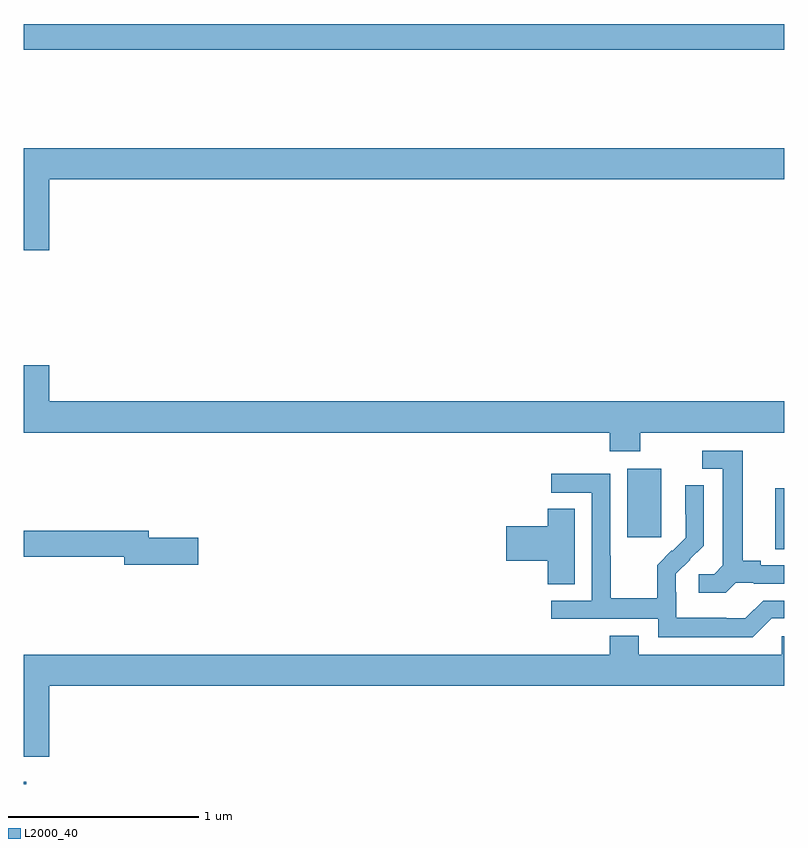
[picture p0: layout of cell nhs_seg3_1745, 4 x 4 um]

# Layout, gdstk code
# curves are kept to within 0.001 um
import gdstk
lib = gdstk.Library(unit=1e-6, precision=1e-09)
def R(c, l, rs):  # rectangles x0, y0, x1, y1
    for r in rs: c.add(gdstk.rectangle(r[:2], r[2:], *l))
def P(c, l, *ps):  # polygons
    for p in ps: c.add(gdstk.Polygon(p, *l))
L2000_40 = (2000, 40)

nhs_seg3_1745 = lib.new_cell('nhs_seg3_1745')
R(nhs_seg3_1745, L2000_40, [(201,700.4,201.013,700.411), (204.953,701.635,205,701.955), (204.173,701.697,204.352,702.058), (201,704.26,205,704.396)])
P(nhs_seg3_1745, L2000_40, [(201.136,703.58),(205,703.58),(205,703.744),(201,703.744),(201,703.206),(201.136,703.206)],
  [(204.243,702.248),(205,702.248),(205,702.412),(201.136,702.412),(201.136,702.601),(201,702.601),(201,702.248),(204.083,702.248),(204.083,702.149),(204.243,702.149)],
  [(204.744,701.457),(204.838,701.457),(204.838,701.454),(205,701.454),(205,701.55),(204.877,701.55),(204.877,701.573),(204.781,701.573),(204.781,702.153),(204.567,702.153),(204.567,702.057),(204.677,702.057),(204.677,701.549),(204.63,701.502),(204.549,701.502),(204.549,701.405),(204.692,701.405)],
  [(204.933,701.271),(205,701.271),(205,701.364),(204.888,701.364),(204.795,701.271),(204.695,701.271),(204.695,701.275),(204.432,701.275),(204.432,701.409),(204.43,701.409),(204.43,701.506),(204.576,701.654),(204.576,701.972),(204.48,701.972),(204.48,701.818),(204.482,701.818),(204.482,701.696),(204.411,701.625),(204.408,701.628),(204.331,701.551),(204.331,701.377),(204.087,701.377),(204.087,701.6),(204.084,701.6),(204.084,702.03),(203.775,702.03),(203.775,701.931),(203.988,701.931),(203.988,701.364),(203.775,701.364),(203.775,701.268),(204.336,701.268),(204.336,701.171),(204.833,701.171)],
  [(203.899,701.846),(203.756,701.846),(203.756,701.756),(203.538,701.756),(203.538,701.573),(203.756,701.573),(203.756,701.449),(203.899,701.449)],
  [(201.919,701.696),(201.658,701.696),(201.658,701.732),(201,701.732),(201,701.596),(201.53,701.596),(201.53,701.554),(201.919,701.554)],
  [(201.136,700.916),(205,700.916),(205,701.178),(204.987,701.178),(204.987,701.08),(204.235,701.08),(204.235,701.179),(204.083,701.179),(204.083,701.08),(201,701.08),(201,700.542),(201.136,700.542)])

lib.write_gds('nhs_seg3_1745.gds')
